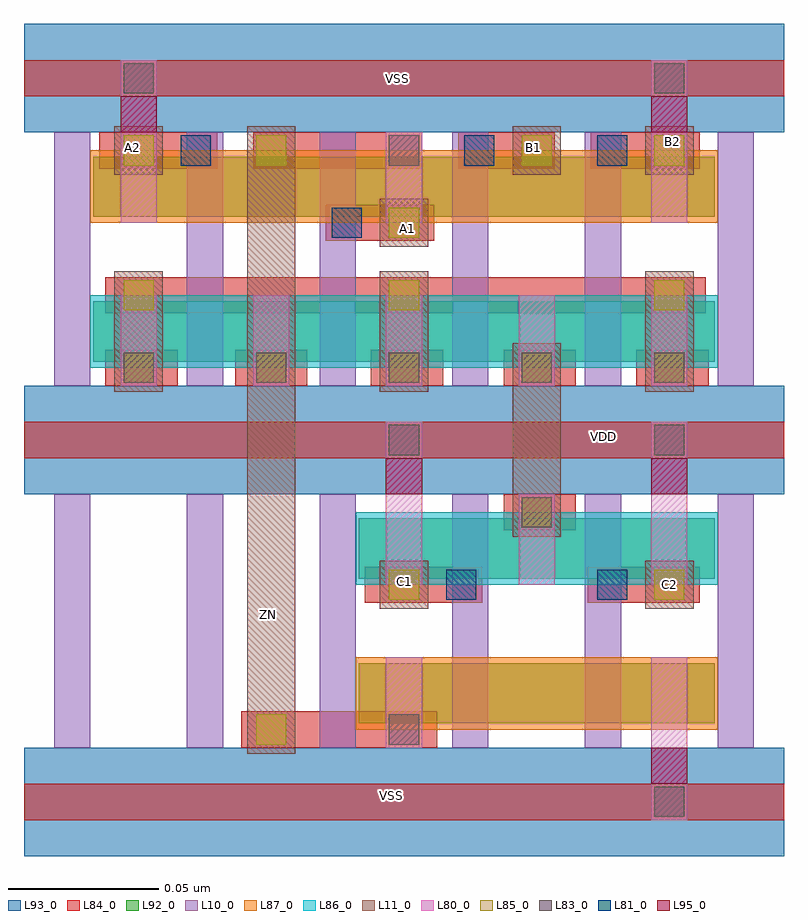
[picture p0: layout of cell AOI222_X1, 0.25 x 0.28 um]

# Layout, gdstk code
import gdstk
lib = gdstk.Library(unit=1e-6, precision=1e-09)
def R(c, l, rs):  # rectangles x0, y0, x1, y1
    for r in rs: c.add(gdstk.rectangle(r[:2], r[2:], *l))
def A(c, l, x, y, w, h, nx, ny, dx, dy):  # array of equal rectangles
    R(c, l, [(x+i*dx, y+j*dy, x+i*dx+w, y+j*dy+h) for i in range(nx) for j in range(ny)])
L10_0 = (10, 0)
L11_0 = (11, 0)
L80_0 = (80, 0)
L81_0 = (81, 0)
L83_0 = (83, 0)
L84_0 = (84, 0)
L85_0 = (85, 0)
L86_0 = (86, 0)
L87_0 = (87, 0)
L92_0 = (92, 0)
L93_0 = (93, 0)
L95_0 = (95, 0)

aoi222_x1 = lib.new_cell('AOI222_X1')
A(aoi222_x1, L10_0, -0.006, -0.102, 0.012, 0.084, 6, 2, 0.044, 0.12)
A(aoi222_x1, L11_0, 0.014, 0.016, 0.016, 0.04, 3, 1, 0.088, 0)
R(aoi222_x1, L11_0, [(0.058,-0.104,0.074,0.104), (0.102,-0.056,0.118,-0.04), (0.19,-0.056,0.206,-0.04), (0.146,-0.032,0.162,0.032), (0.102,0.064,0.118,0.08), (0.014,0.088,0.03,0.104), (0.146,0.088,0.162,0.104), (0.19,0.088,0.206,0.104)])
A(aoi222_x1, L80_0, 0.016, 0.018, 0.012, 0.03, 5, 1, 0.044, 0)
R(aoi222_x1, L80_0, [(0.192,-0.126,0.204,-0.072), (0.104,-0.102,0.116,-0.072), (0.104,-0.048,0.116,0.006), (0.148,-0.048,0.16,-0.018), (0.192,-0.048,0.204,0.006), (0.016,0.018,0.028,0.048), (0.016,0.072,0.028,0.126), (0.104,0.072,0.116,0.102), (0.192,0.072,0.204,0.126)])
R(aoi222_x1, L81_0, [(0.124,-0.053,0.134,-0.043), (0.174,-0.053,0.184,-0.043), (0.086,0.067,0.096,0.077), (0.086,0.067,0.096,0.077), (0.036,0.091,0.046,0.101), (0.13,0.091,0.14,0.101), (0.13,0.091,0.14,0.101), (0.174,0.091,0.184,0.101)])
A(aoi222_x1, L83_0, 0.105, -0.101, 0.01, 0.01, 1, 3, 0, 0.096)
A(aoi222_x1, L83_0, 0.017, 0.019, 0.01, 0.01, 3, 1, 0.044, 0)
A(aoi222_x1, L83_0, 0.105, 0.019, 0.01, 0.01, 3, 1, 0.044, 0)
R(aoi222_x1, L83_0, [(0.193,-0.125,0.203,-0.115), (0.149,-0.029,0.159,-0.019), (0.193,-0.005,0.203,0.005), (0.017,0.019,0.027,0.029), (0.017,0.019,0.027,0.029), (0.017,0.019,0.027,0.029), (0.017,0.019,0.027,0.029), (0.193,0.019,0.203,0.029), (0.193,0.019,0.203,0.029), (0.017,0.115,0.027,0.125), (0.193,0.115,0.203,0.125)])
A(aoi222_x1, L84_0, -0.016, -0.126, 0.252, 0.012, 1, 3, 0, 0.12)
A(aoi222_x1, L84_0, 0.099, 0.018, 0.024, 0.012, 3, 1, 0.044, 0)
R(aoi222_x1, L84_0, [(0.056,-0.102,0.121,-0.09), (0.097,-0.054,0.136,-0.042), (0.171,-0.054,0.208,-0.042), (0.143,-0.03,0.167,-0.018), (0.011,0.018,0.035,0.03), (0.011,0.018,0.035,0.03), (0.054,0.018,0.078,0.03), (0.011,0.042,0.21,0.054), (0.084,0.066,0.12,0.078), (0.009,0.09,0.048,0.102), (0.06,0.09,0.116,0.102), (0.128,0.09,0.16,0.102), (0.172,0.09,0.208,0.102)])
A(aoi222_x1, L85_0, 0.017, 0.019, 0.01, 0.01, 5, 1, 0.044, 0)
A(aoi222_x1, L85_0, 0.017, 0.043, 0.01, 0.01, 3, 1, 0.088, 0)
R(aoi222_x1, L85_0, [(0.061,-0.101,0.071,-0.091), (0.105,-0.053,0.115,-0.043), (0.193,-0.053,0.203,-0.043), (0.149,-0.029,0.159,-0.019), (0.017,0.019,0.027,0.029), (0.105,0.067,0.115,0.077), (0.105,0.067,0.115,0.077), (0.017,0.091,0.027,0.101), (0.061,0.091,0.071,0.101), (0.149,0.091,0.159,0.101), (0.149,0.091,0.159,0.101), (0.193,0.091,0.203,0.101), (0.193,0.091,0.203,0.101)])
R(aoi222_x1, L86_0, [(0.094,-0.048,0.214,-0.024), (0.006,0.024,0.214,0.048)])
R(aoi222_x1, L87_0, [(0.094,-0.096,0.214,-0.072), (0.006,0.072,0.214,0.096)])
R(aoi222_x1, L92_0, [(0.095,-0.094,0.213,-0.074), (0.095,-0.046,0.213,-0.026), (0.007,0.026,0.213,0.046), (0.007,0.074,0.213,0.094)])
A(aoi222_x1, L93_0, -0.016, -0.138, 0.252, 0.036, 1, 3, 0, 0.12)
R(aoi222_x1, L95_0, [(0.192,-0.114,0.204,-0.102), (0.104,-0.018,0.116,-0.006), (0.192,-0.018,0.204,-0.006), (0.016,0.102,0.028,0.114), (0.192,0.102,0.204,0.114)])
aoi222_x1.add(gdstk.Label('VSS', (0.106,-0.118), layer=88, texttype=0))
aoi222_x1.add(gdstk.Label('VSS', (0.108,0.12), layer=88, texttype=0))
aoi222_x1.add(gdstk.Label('VDD', (0.176,0.001), layer=88, texttype=0))
aoi222_x1.add(gdstk.Label('A1', (0.111,0.07), layer=31, texttype=0))
aoi222_x1.add(gdstk.Label('B1', (0.153,0.097), layer=31, texttype=0))
aoi222_x1.add(gdstk.Label('A2', (0.02,0.097), layer=31, texttype=0))
aoi222_x1.add(gdstk.Label('C2', (0.198,-0.048), layer=31, texttype=0))
aoi222_x1.add(gdstk.Label('ZN', (0.065,-0.058), layer=31, texttype=0))
aoi222_x1.add(gdstk.Label('B2', (0.199,0.099), layer=31, texttype=0))
aoi222_x1.add(gdstk.Label('C1', (0.11,-0.047), layer=31, texttype=0))

lib.write_gds('AOI222_X1.gds')
